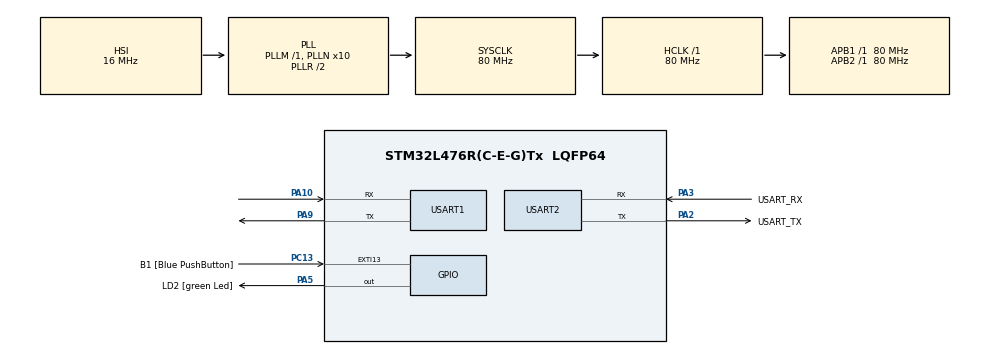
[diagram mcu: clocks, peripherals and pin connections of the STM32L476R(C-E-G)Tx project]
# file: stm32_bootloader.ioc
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CRC.InputDataFormat=CRC_INPUTDATA_FORMAT_BYTES
CRC.InputDataInversionMode=CRC_INPUTDATA_INVERSION_BYTE
CRC.OutputDataInversionMode=CRC_OUTPUTDATA_INVERSION_ENABLE
Mcu.Family=STM32L4
Mcu.Name=STM32L476R(C-E-G)Tx
Mcu.Package=LQFP64
NVIC.PriorityGroup=NVIC_PRIORITYGROUP_4
NVIC.USART2_IRQn=true\:0\:0\:false\:false\:true\:true\:true\:true
PA10.Mode=Asynchronous
PA10.Signal=USART1_RX
PA13\ (JTMS-SWDIO).GPIO_Label=TMS
PA13\ (JTMS-SWDIO).Mode=Serial_Wire
PA13\ (JTMS-SWDIO).Signal=SYS_JTMS-SWDIO
PA14\ (JTCK-SWCLK).GPIO_Label=TCK
PA14\ (JTCK-SWCLK).Mode=Serial_Wire
PA14\ (JTCK-SWCLK).Signal=SYS_JTCK-SWCLK
PA2.GPIO_Label=USART_TX
PA2.GPIO_Mode=GPIO_MODE_AF_PP
PA2.GPIO_PuPd=GPIO_NOPULL
PA2.GPIO_Speed=GPIO_SPEED_FREQ_VERY_HIGH
PA2.Mode=Asynchronous
PA2.Signal=USART2_TX
PA3.GPIO_Label=USART_RX
PA3.GPIO_Mode=GPIO_MODE_AF_PP
PA3.GPIO_PuPd=GPIO_NOPULL
PA3.GPIO_Speed=GPIO_SPEED_FREQ_VERY_HIGH
PA3.Mode=Asynchronous
PA3.Signal=USART2_RX
PA5.GPIO_Label=LD2 [green Led]
PA5.GPIO_ModeDefaultOutputPP=GPIO_MODE_OUTPUT_PP
PA5.GPIO_PuPd=GPIO_NOPULL
PA5.GPIO_Speed=GPIO_SPEED_FREQ_LOW
PA5.Signal=GPIO_Output
PA9.Mode=Asynchronous
PA9.Signal=USART1_TX
PB3\ (JTDO-TRACESWO).GPIO_Label=SWO
PB3\ (JTDO-TRACESWO).Signal=SYS_JTDO-SWO
PC13.GPIO_Label=B1 [Blue PushButton]
PC13.GPIO_ModeDefaultEXTI=GPIO_MODE_IT_FALLING
PC13.GPIO_PuPd=GPIO_NOPULL
PC13.Signal=GPXTI13
PC14-OSC32_IN\ (PC14).Mode=LSE-External-Oscillator
PC14-OSC32_IN\ (PC14).Signal=RCC_OSC32_IN
PC15-OSC32_OUT\ (PC15).Mode=LSE-External-Oscillator
PC15-OSC32_OUT\ (PC15).Signal=RCC_OSC32_OUT
PH0-OSC_IN\ (PH0).Signal=RCC_OSC_IN
PH1-OSC_OUT\ (PH1).Signal=RCC_OSC_OUT
ProjectManager.HeapSize=0x200
ProjectManager.StackSize=0x400
ProjectManager.TargetToolchain=STM32CubeIDE
RCC.ADCFreq_Value=64000000
RCC.AHBFreq_Value=80000000
RCC.APB1Freq_Value=80000000
RCC.APB1TimFreq_Value=80000000
RCC.APB2Freq_Value=80000000
RCC.APB2TimFreq_Value=80000000
RCC.CortexFreq_Value=80000000
RCC.HCLKFreq_Value=80000000
RCC.HSE_VALUE=8000000
RCC.HSI_VALUE=16000000
RCC.MSI_VALUE=4000000
RCC.PLLN=10
RCC.PLLSourceVirtual=RCC_PLLSOURCE_HSI
RCC.PREFETCH_ENABLE=1
RCC.SYSCLKFreq_VALUE=80000000
RCC.SYSCLKSource=RCC_SYSCLKSOURCE_PLLCLK
RCC.USBFreq_Value=64000000
RCC.VCOOutputFreq_Value=160000000
USART1.VirtualMode-Asynchronous=VM_ASYNC
USART2.VirtualMode-Asynchronous=VM_ASYNC
VP_CRC_VS_CRC.Mode=CRC_Activate
board=NUCLEO-L476RG

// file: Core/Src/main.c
/* USER CODE BEGIN Header */
/**
  ******************************************************************************
  * @file           : main.c
  * @brief          : Main program body
  ******************************************************************************
  * @attention
  *
  * Copyright (c) 2025 STMicroelectronics.
  * All rights reserved.
  *
  * This software is licensed under terms that can be found in the LICENSE file
  * in the root directory of this software component.
  * If no LICENSE file comes with this software, it is provided AS-IS.
  *
  ******************************************************************************
  */
/* USER CODE END Header */
#include "main.h"
#include "crc.h"
#include "usart.h"
#include "gpio.h"

/* USER CODE BEGIN Includes */
#include <string.h>
#include <stdlib.h>
#include "esp_at.h"
#include "bl.h"
#include <stdio.h>
#include <errno.h>
#include "nvs.h"
/* USER CODE END Includes */

/* USER CODE BEGIN PD */

#define WRITE_CMD 0x31
#define ERASE_CMD 0x43
#define GO_CMD 0x20
#define UPDATE_CMD 0x99
#define ACK_CMD 0x79
#define NACK_CMD 0x1F
/* USER CODE END PD */

/* USER CODE BEGIN PM */
#define min(a,b) \
	({ __typeof__ (a) _a = (a); \
	   __typeof__ (b) _b = (b); \
	   _a < _b ? _a : _b; })
/* USER CODE END PM */

/* USER CODE BEGIN PV */
static FLASH_EraseInitTypeDef EraseInitStruct;
static uint32_t PageError;
char rx_cmd[2] = {0,0};

uint32_t write_addr;
uint32_t write_filesize;
volatile char bin_file[32768/2];
uint32_t go_addr;
uint8_t ack_cmd = ACK_CMD;
uint8_t nack_cmd = NACK_CMD;
uint8_t* ACK = &ack_cmd;
uint8_t* NACK = &nack_cmd;
__IO uint32_t uwCRCValue = 0;
uint32_t crc_recv = 0;

extern uint64_t _bdata;
char resp_buff[512] = {0};
char* resp_tokens[20] = {0};

/* USER CODE END PV */

void SystemClock_Config(void);

/* USER CODE BEGIN 0 */
int bl_erase() {
	uint32_t page_count;
	uint32_t initial_page;
	HAL_UART_Receive(&huart2, &page_count, 4, -1);
	HAL_UART_Receive(&huart2, &initial_page, 4, -1);
	/* Unlock the Flash to enable the flash control register access */
	if (HAL_FLASH_Unlock() != HAL_OK) {
		return -1;
	}

	/* TODO: Add NACK for invalid page count or initial page */
	if(initial_page > 255) {
		EraseInitStruct.Banks = FLASH_BANK_2;
	} else
		EraseInitStruct.Banks = FLASH_BANK_1;

	/* Fill EraseInit structure*/
	EraseInitStruct.TypeErase 	= FLASH_TYPEERASE_PAGES;
	EraseInitStruct.Page 		= initial_page;
	EraseInitStruct.NbPages 	= page_count;

	if (HAL_FLASHEx_Erase(&EraseInitStruct, &PageError) != HAL_OK) {
	    HAL_FLASH_Lock();
		return -1;
	}
	HAL_FLASH_Lock();
	return 0;
}

int bl_write() {
	HAL_UART_Receive(&huart2, &write_addr, 4, -1);
	// TODO: Check for valid address
	HAL_UART_Transmit(&huart2, ACK, 1, -1);
	uint32_t file_size = 0;
	HAL_UART_Receive(&huart2, &file_size, sizeof(file_size), -1);
	// Receive checksum
	HAL_UART_Receive(&huart2, &crc_recv, sizeof(crc_recv), -1);

	if(file_size > sizeof(bin_file)) {
		return -1;
	}
	HAL_UART_Receive(&huart2, bin_file, file_size, -1);

	// Calculate checksum
	uwCRCValue = HAL_CRC_Calculate(&hcrc, (uint32_t *) bin_file, file_size);
	uwCRCValue = ~uwCRCValue;

	if (uwCRCValue != crc_recv) {
		return -1;
	}

	uint64_t* file_ptr = bin_file;
	uint32_t user_addr = write_addr;
	/* Unlock the Flash to enable the flash control register access */
	if (HAL_FLASH_Unlock() != HAL_OK) {
		return -1;
	}

	for(int i = 0; i < (file_size / 8); i++) {
		if (HAL_FLASH_Program(FLASH_TYPEPROGRAM_DOUBLEWORD, user_addr, *file_ptr) == HAL_ERROR) {
			uint32_t err = HAL_FLASH_GetError();
			HAL_FLASH_Lock();
			return -1;
		}
		user_addr += 8;
		file_ptr += 1;
	}
	HAL_FLASH_Lock();
	HAL_UART_Transmit(&huart2, ACK, 1, -1);
	return 0;
}

int bl_go() {
	HAL_UART_Receive(&huart2, &go_addr, 4, -1);
	uint8_t bank_swp = 0;
	uint32_t vtor_addr = go_addr;
	// TODO: Check for valid address
	if (go_addr >= 0x08080000) {
		bank_swp = 1;
		go_addr -= 0x00080000;
	}
	HAL_UART_Transmit(&huart2, ACK, 1, -1);
	/* Begin preparing for application jump */
	HAL_RCC_DeInit();
	HAL_DeInit();
	__disable_irq();
	SysTick->CTRL = 0;
	SysTick->LOAD = 0;
	SysTick->VAL = 0;
	if(bank_swp == 1) {
		// disable ART
		CLEAR_BIT(FLASH->ACR, FLASH_ACR_PRFTEN);
		CLEAR_BIT(FLASH->ACR, FLASH_ACR_ICEN | FLASH_ACR_DCEN);
		// clear cache
		SET_BIT(FLASH->ACR, FLASH_ACR_ICRST | FLASH_ACR_DCRST);
		SET_BIT(SYSCFG->MEMRMP, SYSCFG_MEMRMP_FB_MODE);

		SET_BIT(FLASH->ACR, FLASH_ACR_PRFTEN);
		SET_BIT(FLASH->ACR, FLASH_ACR_ICEN | FLASH_ACR_DCEN);
	}
	SCB->VTOR = vtor_addr;
	//__set_MSP(_estack); // Verify whether this is actually necessary
	__DSB();
	__ISB();
	__enable_irq();
	uint32_t Reset_Handler_addr = go_addr + 4;
	void (*Reset_Handler)(void) = *((uint32_t*) Reset_Handler_addr);
	Reset_Handler();
	/* This should never execute */
	while(1) {
		// TODO: Add warning that execution failed
	}
}

int bl_update() {
	bl_erase();
	bl_write();
	/* Write which bank is being used to flash */
	if (_bdata == 1)
	bl_go();
	return -1;
}
/* USER CODE END 0 */

int main(void)
{

  /* MCU Configuration--------------------------------------------------------*/

  /* Reset of all peripherals, Initializes the Flash interface and the Systick. */
  HAL_Init();

  /* Configure the system clock */
  SystemClock_Config();

  /* Initialize all configured peripherals */
  MX_GPIO_Init();
  MX_USART2_UART_Init();
  MX_CRC_Init();
  MX_USART1_UART_Init();

  /* USER CODE BEGIN 2 */
  {
  /* Initialize boot info structs */
  struct App_Data app1 = *((struct App_Data*) (&_nvs_start));
  struct App_Data app2 = *((struct App_Data*) (&_nvs_start + sizeof(struct App_Data)));

  #ifndef DISABLE_ROLLBACK
  /* Check if there is application to validate post-boot */
  bl_ota_cancel_rollback(&app1, &app2);
  #endif
//  /* Check for WiFi connection */
//  struct AT_Command check_wifi = {
//	  .cmd = "CWJAP?",
//	  .args = 0,
//	  .arg_count = 0
//  };
//
//  if(at_exchange(&huart1, check_wifi, resp_buff, sizeof(resp_buff), resp_tokens, sizeof(resp_tokens)) != AT_OK) {
//	  _bl_boot();
//	  goto at_end;
//  }
  /* Clear out UART buffers from any incoming data */
  HAL_UART_Receive(&huart1, resp_buff, sizeof(resp_buff), 1000);

  /* Enable WiFi on slave */
  char* args[] = {"1", "0"};
  struct AT_Command enable_wifi = {
	  .cmd = "CWMODE",
	  .args = args,
	  .arg_count = 2
  };
  if(at_exchange(&huart1, enable_wifi, resp_buff, sizeof(resp_buff), resp_tokens, sizeof(resp_tokens)) != AT_OK) {
	  _bl_boot();
	  goto at_end;
  }
  struct AP_Settings settings = {
    .ssid = WIFI_AP,
	.pwd = WIFI_PWD
  };
  if(at_connect_wifi(&huart1, settings) != 0) {
	  _bl_boot();
	  goto at_end;
  }
  char url_target[] = UPDATE_URL;
  if(at_head(&huart1, url_target, bin_file, sizeof(bin_file), resp_tokens, sizeof(resp_tokens)) != AT_OK) {
	  _bl_boot();
	  goto at_end;
  }
  uint32_t crc32 = 0;
  uint8_t force_upd = 0;
  char* crc32_str;
  char* force_upd_str;
  for (int i = 0; i < sizeof(resp_tokens)/sizeof(resp_tokens[0]); i++) {
	  if(crc32_str = strstr(resp_tokens[i], "x-crc32")) {
		  errno = 0;
		  crc32 = strtoll(crc32_str+8, NULL, 10);
	  }
	  if(force_upd_str = strstr(resp_tokens[i], "x-forceupd")) {
		  errno = 0;
		  force_upd = strtoll(force_upd_str+11, NULL, 10);
	  }
  }
  if(!crc32) {
	  _bl_boot();
	  goto at_end;
  }
  if (force_upd != 1) {
	  if(app1.crc32 == crc32 || app2.crc32 == crc32) {
		  _bl_boot();
		  goto at_end;
	  }
  }
  size_t file_size = at_get_file_size(&huart1, url_target, bin_file, sizeof(bin_file));
  // TODO: Make HEAD call to check for Accept-Ranges
  int page_count = (file_size + 2048 - 1) / 2048;
  int target_page = -1;
  if(app1.status != BL_VALID)
	  target_page = 40;
  else if(app2.status != BL_VALID)
	  target_page = 40 + 256;
  if (_bl_erase(page_count, target_page) == -1)
	  while(1);
  	  // TODO: Handle erase failure
  size_t file_loaded = 0;
  size_t next_file_loaded = 0;
  while (file_size > file_loaded) {
	  memset(bin_file, 0, sizeof(bin_file));
	  next_file_loaded = min(file_size,file_loaded + 1024);
	  size_t range[2] = {file_loaded, next_file_loaded-1};
	  at_get_file(&huart1, url_target, bin_file, sizeof(bin_file), range);
	  _bl_write(bin_file, next_file_loaded - file_loaded, 0x08000000 + (2048 * target_page) + file_loaded);
	  file_loaded = next_file_loaded;
  }

  if(app1.status != BL_VALID) {
	  app1.magic = MAGIC;
	  app1.address = 0x08000000 + (2048 * target_page);
	  app1.crc32 = crc32;
	  app1.length = file_size;
	  if(validate_app(&app1) == BL_ERROR || validate_crc32(&app1) == BL_ERROR)
		  app1.status = BL_INVALID;
	  else {
		#ifdef DISABLE_ROLLBACK
		  app1.status = BL_VALID;
		#else
		  app1.status = BL_PENDING;
		#endif
		  app2.status = BL_INVALID;
	  }
  }
  else if(app2.status != BL_VALID) {
	  app2.magic = MAGIC;
	  app2.address = 0x08000000 + (2048 * target_page);
	  app2.crc32 = crc32;
	  app2.length = file_size;
	  if(validate_app(&app2) == BL_ERROR || validate_crc32(&app2) == BL_ERROR)
		  app2.status = BL_INVALID;
	  else {
		#ifdef DISABLE_ROLLBACK
		  app2.status = BL_VALID;
		#else
		  app2.status = BL_PENDING;
		#endif
		  app1.status = BL_INVALID;
	  }
  }
  if(update_app_metadata(&app1, &app2) == BL_OK) {
	  _bl_boot();
  }
  at_end:
  	  __NOP();
  }
  /* USER CODE END 2 */

  /* Infinite loop */
  while (1)
  {

    /* USER CODE BEGIN 3 */
	HAL_UART_Receive(&huart2, rx_cmd, 2, -1);
	if((rx_cmd[0] ^ rx_cmd[1]) != 255) {
		HAL_UART_Transmit(&huart2, NACK, 1, -1);
	}
	if(rx_cmd[0] == WRITE_CMD) {
		HAL_UART_Transmit(&huart2, ACK, 1, -1);
		if (bl_write() == 0) {
			HAL_UART_Transmit(&huart2, ACK, 1, -1);
			continue;
		}
	}
	else if(rx_cmd[0] == ERASE_CMD) {
		HAL_UART_Transmit(&huart2, ACK, 1, -1);
		if (bl_erase() == 0) {
			HAL_UART_Transmit(&huart2, ACK, 1, -1);
			continue;
		}
	}
	else if(rx_cmd[0] == GO_CMD) {
		HAL_UART_Transmit(&huart2, ACK, 1, -1);
		if (bl_go() == 0) {
			HAL_UART_Transmit(&huart2, ACK, 1, -1);
			continue;
		}
	}
	else if(rx_cmd[0] == UPDATE_CMD) {
		HAL_UART_Transmit(&huart2, ACK, 1, -1);
		if (bl_update() == 0) {
			HAL_UART_Transmit(&huart2, ACK, 1, -1);
			continue;
		}
	}
	HAL_UART_Transmit(&huart2, NACK, 1, -1);
  }
  /* USER CODE END 3 */
}

void SystemClock_Config(void)
{
  RCC_OscInitTypeDef RCC_OscInitStruct = {0};
  RCC_ClkInitTypeDef RCC_ClkInitStruct = {0};

  /** Configure the main internal regulator output voltage
  */
  if (HAL_PWREx_ControlVoltageScaling(PWR_REGULATOR_VOLTAGE_SCALE1) != HAL_OK)
  {
    Error_Handler();
  }

  /** Initializes the RCC Oscillators according to the specified parameters
  * in the RCC_OscInitTypeDef structure.
  */
  RCC_OscInitStruct.OscillatorType = RCC_OSCILLATORTYPE_HSI;
  RCC_OscInitStruct.HSIState = RCC_HSI_ON;
  RCC_OscInitStruct.HSICalibrationValue = RCC_HSICALIBRATION_DEFAULT;
  RCC_OscInitStruct.PLL.PLLState = RCC_PLL_ON;
  RCC_OscInitStruct.PLL.PLLSource = RCC_PLLSOURCE_HSI;
  RCC_OscInitStruct.PLL.PLLM = 1;
  RCC_OscInitStruct.PLL.PLLN = 10;
  RCC_OscInitStruct.PLL.PLLP = RCC_PLLP_DIV7;
  RCC_OscInitStruct.PLL.PLLQ = RCC_PLLQ_DIV2;
  RCC_OscInitStruct.PLL.PLLR = RCC_PLLR_DIV2;
  if (HAL_RCC_OscConfig(&RCC_OscInitStruct) != HAL_OK)
  {
    Error_Handler();
  }

  /** Initializes the CPU, AHB and APB buses clocks
  */
  RCC_ClkInitStruct.ClockType = RCC_CLOCKTYPE_HCLK|RCC_CLOCKTYPE_SYSCLK
                              |RCC_CLOCKTYPE_PCLK1|RCC_CLOCKTYPE_PCLK2;
  RCC_ClkInitStruct.SYSCLKSource = RCC_SYSCLKSOURCE_PLLCLK;
  RCC_ClkInitStruct.AHBCLKDivider = RCC_SYSCLK_DIV1;
  RCC_ClkInitStruct.APB1CLKDivider = RCC_HCLK_DIV1;
  RCC_ClkInitStruct.APB2CLKDivider = RCC_HCLK_DIV1;

  if (HAL_RCC_ClockConfig(&RCC_ClkInitStruct, FLASH_LATENCY_4) != HAL_OK)
  {
    Error_Handler();
  }
}

void Error_Handler(void)
{
  __disable_irq();
  while (1)
  {
  }
}
